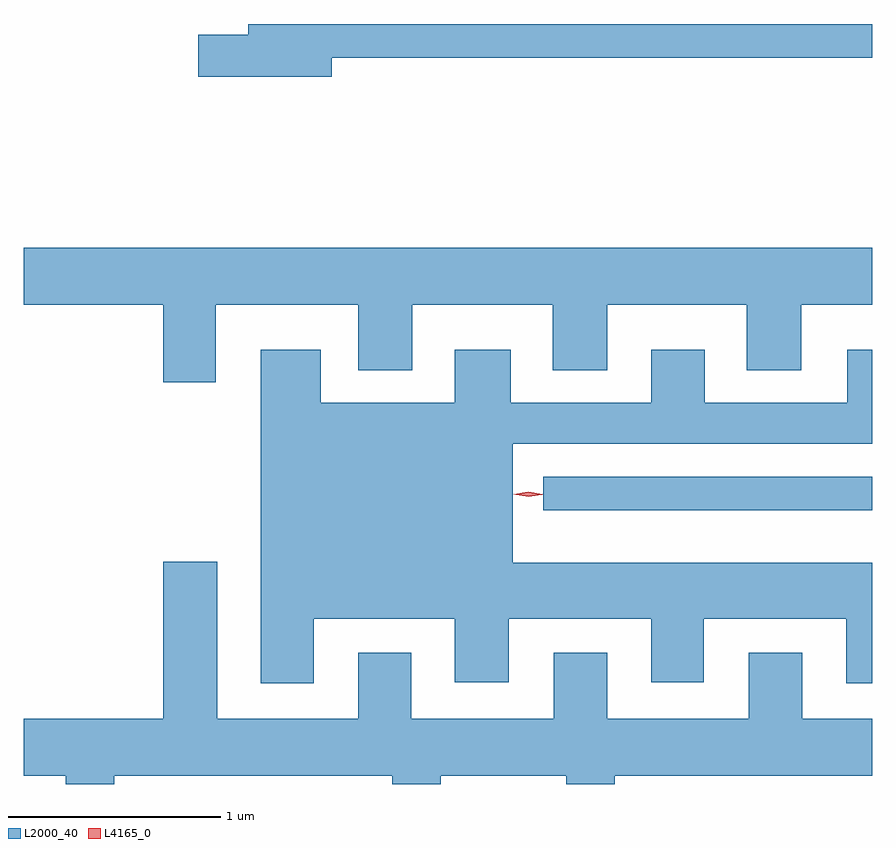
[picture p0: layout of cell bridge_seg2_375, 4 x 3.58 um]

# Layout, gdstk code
import gdstk
lib = gdstk.Library(unit=1e-6, precision=1e-09)
def R(c, l, rs):  # rectangles x0, y0, x1, y1
    for r in rs: c.add(gdstk.rectangle(r[:2], r[2:], *l))
def P(c, l, *ps):  # polygons
    for p in ps: c.add(gdstk.Polygon(p, *l))
L2000_40 = (2000, 40)
L4165_0 = (4165, 0)

bridge_seg2_375 = lib.new_cell('bridge_seg2_375')
R(bridge_seg2_375, L2000_40, [(602.803,1040.686,604.353,1040.844)])
P(bridge_seg2_375, L2000_40, [(601.804,1042.821),(604.353,1042.821),(604.353,1042.979),(601.411,1042.979),(601.411,1042.929),(601.176,1042.929),(601.176,1042.731),(601.804,1042.731)],
  [(601.259,1041.656),(601.931,1041.656),(601.931,1041.346),(602.184,1041.346),(602.184,1041.656),(602.846,1041.656),(602.846,1041.346),(603.104,1041.346),(603.104,1041.656),(603.761,1041.656),(603.761,1041.346),(604.019,1041.346),(604.019,1041.656),(604.353,1041.656),(604.353,1041.924),(600.353,1041.924),(600.353,1041.656),(601.011,1041.656),(601.011,1041.291),(601.259,1041.291)],
  [(601.719,1040.176),(602.386,1040.176),(602.386,1039.876),(602.639,1039.876),(602.639,1040.176),(603.311,1040.176),(603.311,1039.876),(603.559,1039.876),(603.559,1040.176),(604.231,1040.176),(604.231,1039.871),(604.353,1039.871),(604.353,1040.439),(602.659,1040.439),(602.659,1041.001),(604.353,1041.001),(604.353,1041.444),(604.236,1041.444),(604.236,1041.194),(603.564,1041.194),(603.564,1041.444),(603.311,1041.444),(603.311,1041.194),(602.649,1041.194),(602.649,1041.444),(602.386,1041.444),(602.386,1041.194),(601.754,1041.194),(601.754,1041.444),(601.471,1041.444),(601.471,1039.871),(601.719,1039.871)],
  [(600.779,1039.436),(602.091,1039.436),(602.091,1039.396),(602.319,1039.396),(602.319,1039.436),(602.911,1039.436),(602.911,1039.396),(603.139,1039.396),(603.139,1039.436),(604.353,1039.436),(604.353,1039.704),(604.024,1039.704),(604.024,1040.014),(603.771,1040.014),(603.771,1039.704),(603.104,1039.704),(603.104,1040.014),(602.851,1040.014),(602.851,1039.704),(602.179,1039.704),(602.179,1040.014),(601.931,1040.014),(601.931,1039.704),(601.264,1039.704),(601.264,1040.444),(601.011,1040.444),(601.011,1039.704),(600.353,1039.704),(600.353,1039.436),(600.551,1039.436),(600.551,1039.396),(600.779,1039.396)])
P(bridge_seg2_375, L4165_0, [(602.731,1040.753),(602.663,1040.762),(602.662,1040.763),(602.663,1040.763),(602.731,1040.773),(602.8,1040.763),(602.8,1040.763),(602.8,1040.762)],
  [(602.734,1040.75),(602.672,1040.759),(602.672,1040.76),(602.672,1040.76),(602.734,1040.77),(602.796,1040.761),(602.797,1040.76),(602.796,1040.76)])

lib.write_gds('bridge_seg2_375.gds')
